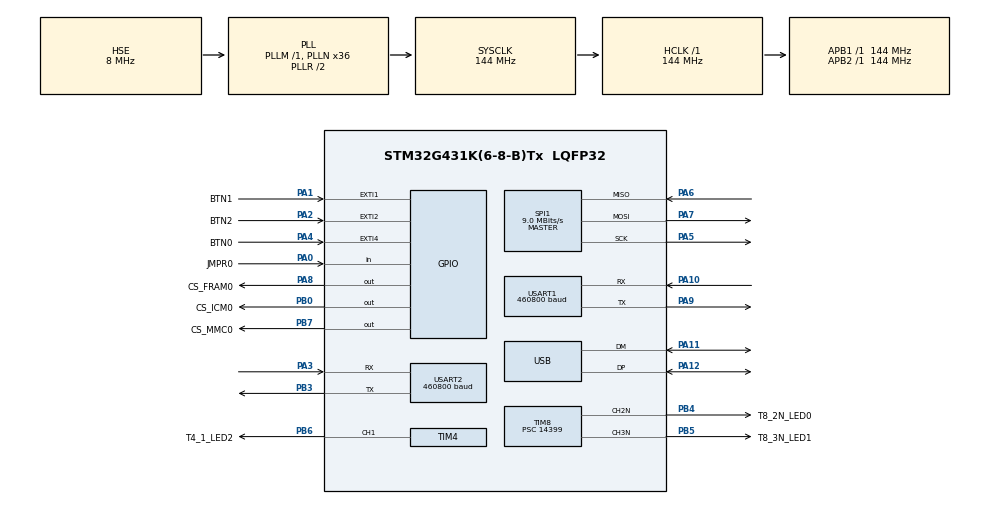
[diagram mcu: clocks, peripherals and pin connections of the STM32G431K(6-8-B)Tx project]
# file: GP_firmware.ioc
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Dma.Request0=SPI1_RX
Dma.Request1=SPI1_TX
Dma.SPI1_RX.0.Direction=DMA_PERIPH_TO_MEMORY
Dma.SPI1_RX.0.EventEnable=DISABLE
Dma.SPI1_RX.0.Instance=DMA1_Channel1
Dma.SPI1_RX.0.MemDataAlignment=DMA_MDATAALIGN_BYTE
Dma.SPI1_RX.0.MemInc=DMA_MINC_ENABLE
Dma.SPI1_RX.0.Mode=DMA_NORMAL
Dma.SPI1_RX.0.PeriphDataAlignment=DMA_PDATAALIGN_BYTE
Dma.SPI1_RX.0.PeriphInc=DMA_PINC_DISABLE
Dma.SPI1_RX.0.Polarity=HAL_DMAMUX_REQ_GEN_RISING
Dma.SPI1_RX.0.Priority=DMA_PRIORITY_MEDIUM
Dma.SPI1_RX.0.RequestNumber=1
Dma.SPI1_RX.0.SignalID=NONE
Dma.SPI1_RX.0.SyncEnable=DISABLE
Dma.SPI1_RX.0.SyncPolarity=HAL_DMAMUX_SYNC_NO_EVENT
Dma.SPI1_RX.0.SyncRequestNumber=1
Dma.SPI1_RX.0.SyncSignalID=NONE
Dma.SPI1_TX.1.Direction=DMA_MEMORY_TO_PERIPH
Dma.SPI1_TX.1.EventEnable=DISABLE
Dma.SPI1_TX.1.Instance=DMA1_Channel2
Dma.SPI1_TX.1.MemDataAlignment=DMA_MDATAALIGN_BYTE
Dma.SPI1_TX.1.MemInc=DMA_MINC_ENABLE
Dma.SPI1_TX.1.Mode=DMA_NORMAL
Dma.SPI1_TX.1.PeriphDataAlignment=DMA_PDATAALIGN_BYTE
Dma.SPI1_TX.1.PeriphInc=DMA_PINC_DISABLE
Dma.SPI1_TX.1.Polarity=HAL_DMAMUX_REQ_GEN_RISING
Dma.SPI1_TX.1.Priority=DMA_PRIORITY_MEDIUM
Dma.SPI1_TX.1.RequestNumber=1
Dma.SPI1_TX.1.SignalID=NONE
Dma.SPI1_TX.1.SyncEnable=DISABLE
Dma.SPI1_TX.1.SyncPolarity=HAL_DMAMUX_SYNC_NO_EVENT
Dma.SPI1_TX.1.SyncRequestNumber=1
Dma.SPI1_TX.1.SyncSignalID=NONE
Mcu.Family=STM32G4
Mcu.Name=STM32G431K(6-8-B)Tx
Mcu.Package=LQFP32
NVIC.DMA1_Channel1_IRQn=true\:0\:0\:false\:false\:true\:false\:true
NVIC.DMA1_Channel2_IRQn=true\:0\:0\:false\:false\:true\:false\:true
NVIC.EXTI1_IRQn=true\:3\:0\:true\:false\:true\:true\:true
NVIC.EXTI2_IRQn=true\:3\:0\:true\:false\:true\:true\:true
NVIC.EXTI4_IRQn=true\:3\:0\:true\:false\:true\:true\:true
NVIC.PriorityGroup=NVIC_PRIORITYGROUP_4
NVIC.SPI1_IRQn=true\:1\:0\:true\:false\:true\:true\:true
NVIC.TIM1_UP_TIM16_IRQn=true\:5\:0\:true\:false\:true\:true\:true
NVIC.USB_LP_IRQn=true\:2\:0\:true\:false\:true\:false\:true
PA0.GPIO_Label=JMPR0
PA0.GPIO_Mode=GPIO_MODE_INPUT
PA0.GPIO_PuPd=GPIO_PULLUP
PA0.Signal=GPIO_Input
PA1.GPIO_Label=BTN1
PA1.GPIO_ModeDefaultEXTI=GPIO_MODE_IT_FALLING
PA1.GPIO_PuPd=GPIO_PULLUP
PA1.Signal=GPXTI1
PA10.Mode=Asynchronous
PA10.Signal=USART1_RX
PA11.Mode=Device
PA11.Signal=USB_DM
PA12.Mode=Device
PA12.Signal=USB_DP
PA13.Mode=Serial_Wire
PA13.Signal=SYS_JTMS-SWDIO
PA14.Mode=Serial_Wire
PA14.Signal=SYS_JTCK-SWCLK
PA2.GPIO_Label=BTN2
PA2.GPIO_ModeDefaultEXTI=GPIO_MODE_IT_FALLING
PA2.GPIO_PuPd=GPIO_PULLUP
PA2.Signal=GPXTI2
PA3.Mode=Asynchronous
PA3.Signal=USART2_RX
PA4.GPIO_Label=BTN0
PA4.GPIO_ModeDefaultEXTI=GPIO_MODE_IT_FALLING
PA4.GPIO_PuPd=GPIO_PULLUP
PA4.Signal=GPXTI4
PA5.Mode=Full_Duplex_Master
PA5.Signal=SPI1_SCK
PA6.Mode=Full_Duplex_Master
PA6.Signal=SPI1_MISO
PA7.Mode=Full_Duplex_Master
PA7.Signal=SPI1_MOSI
PA8.GPIO_Label=CS_FRAM0
PA8.PinState=GPIO_PIN_SET
PA8.Signal=GPIO_Output
PA9.Mode=Asynchronous
PA9.Signal=USART1_TX
PB0.GPIO_Label=CS_ICM0
PB0.PinState=GPIO_PIN_SET
PB0.Signal=GPIO_Output
PB3.Mode=Asynchronous
PB3.Signal=USART2_TX
PB4.GPIO_Label=T8_2N_LED0
PB4.Mode=PWM Generation2 CH2N
PB4.Signal=TIM8_CH2N
PB5.GPIO_Label=T8_3N_LED1
PB5.Mode=PWM Generation3 CH3N
PB5.Signal=TIM8_CH3N
PB6.GPIO_Label=T4_1_LED2
PB6.Signal=S_TIM4_CH1
PB7.GPIO_Label=CS_MMC0
PB7.PinState=GPIO_PIN_SET
PB7.Signal=GPIO_Output
PF0-OSC_IN.Mode=HSE-External-Oscillator
PF0-OSC_IN.Signal=RCC_OSC_IN
PF1-OSC_OUT.Mode=HSE-External-Oscillator
PF1-OSC_OUT.Signal=RCC_OSC_OUT
ProjectManager.HeapSize=0x200
ProjectManager.StackSize=0x400
ProjectManager.TargetToolchain=STM32CubeIDE
RCC.ADC12Freq_Value=144000000
RCC.AHBFreq_Value=144000000
RCC.APB1Freq_Value=144000000
RCC.APB1TimFreq_Value=144000000
RCC.APB2Freq_Value=144000000
RCC.APB2TimFreq_Value=144000000
RCC.CortexFreq_Value=144000000
RCC.EXTERNAL_CLOCK_VALUE=12288000
RCC.HCLKFreq_Value=144000000
RCC.HSE_VALUE=8000000
RCC.HSI48_VALUE=48000000
RCC.HSI_VALUE=16000000
RCC.LSE_VALUE=32768
RCC.PLLN=36
RCC.PLLQ=RCC_PLLQ_DIV6
RCC.PLLSourceVirtual=RCC_PLLSOURCE_HSE
RCC.SYSCLKFreq_VALUE=144000000
RCC.SYSCLKSource=RCC_SYSCLKSOURCE_PLLCLK
RCC.USBFreq_Value=48000000
RCC.VCOOutputFreq_Value=288000000
SH.S_TIM4_CH1.0=TIM4_CH1,PWM Generation1 CH1
SPI1.BaudRatePrescaler=SPI_BAUDRATEPRESCALER_16
SPI1.CalculateBaudRate=9.0 MBits/s
SPI1.DataSize=SPI_DATASIZE_8BIT
SPI1.Direction=SPI_DIRECTION_2LINES
SPI1.Mode=SPI_MODE_MASTER
SPI1.VirtualType=VM_MASTER
TIM1.PeriodNoDither=999
TIM1.Prescaler=143
TIM1.RepetitionCounter=0
TIM4.Channel-PWM\ Generation1\ CH1=TIM_CHANNEL_1
TIM4.PeriodNoDither=9999
TIM4.Prescaler=14399
TIM4.PulseNoDither_1=4999
TIM8.Channel-PWM\ Generation2\ CH2N=TIM_CHANNEL_2
TIM8.Channel-PWM\ Generation3\ CH3N=TIM_CHANNEL_3
TIM8.PeriodNoDither=9999
TIM8.Prescaler=14399
TIM8.PulseNoDither_2=999
TIM8.PulseNoDither_3=1999
USART1.BaudRate=460800
USART1.VirtualMode-Asynchronous=VM_ASYNC
USART1.WordLength=WORDLENGTH_8B
USART2.BaudRate=460800
USART2.VirtualMode-Asynchronous=VM_ASYNC
USART2.WordLength=WORDLENGTH_8B
USB_DEVICE.CLASS_NAME_FS=CDC
USB_DEVICE.USBD_SELF_POWERED=0
USB_DEVICE.VirtualMode=Cdc
USB_DEVICE.VirtualModeFS=Cdc_FS
VP_SYS_VS_DBSignals.Mode=DisableDeadBatterySignals
VP_TIM1_VS_ClockSourceINT.Mode=Internal
VP_TIM4_VS_ClockSourceINT.Mode=Internal
VP_TIM8_VS_ClockSourceINT.Mode=Internal
VP_USB_DEVICE_VS_USB_DEVICE_CDC_FS.Mode=CDC_FS
board=custom

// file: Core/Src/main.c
/* USER CODE BEGIN Header */
/**
  ******************************************************************************
  * @file           : main.c
  * @brief          : Main program body
  ******************************************************************************
  * @attention
  *
  * <h2><center>&copy; Copyright (c) 2020 STMicroelectronics.
  * All rights reserved.</center></h2>
  *
  * This software component is licensed by ST under Ultimate Liberty license
  * SLA0044, the "License"; You may not use this file except in compliance with
  * the License. You may obtain a copy of the License at:
  *                             www.st.com/SLA0044
  *
  ******************************************************************************
  */
/* USER CODE END Header */
#include "main.h"
#include "spi.h"
#include "tim.h"
#include "usart.h"
#include "usb_device.h"
#include "gpio.h"

void SystemClock_Config(void);
/* USER CODE BEGIN PFP */
void BootLocation(void);
void JumpToBootloader(void);
/* USER CODE END PFP */

int main(void)
{
  /* USER CODE BEGIN 1 */
  BootLocation();
  /* USER CODE END 1 */

  /* MCU Configuration--------------------------------------------------------*/

  /* Reset of all peripherals, Initializes the Flash interface and the Systick. */
  HAL_Init();

  /* Configure the system clock */
  SystemClock_Config();

  /* Initialize all configured peripherals */
  MX_GPIO_Init();
  MX_SPI1_Init();
  MX_USART1_UART_Init();
  MX_USART2_UART_Init();
  MX_USB_Device_Init();
  MX_TIM1_Init();
  MX_TIM4_Init();
  MX_TIM8_Init();
  /* USER CODE BEGIN 2 */
  HAL_TIM_Base_Start_IT(&htim1);
  HAL_TIM_PWM_Start(&htim4, TIM_CHANNEL_1);
  HAL_TIMEx_PWMN_Start(&htim8, TIM_CHANNEL_2);
  HAL_TIMEx_PWMN_Start(&htim8, TIM_CHANNEL_3);
  /* USER CODE END 2 */

  /* Infinite loop */
  while (1)
  {

  }
}

void SystemClock_Config(void)
{
  RCC_OscInitTypeDef RCC_OscInitStruct = {0};
  RCC_ClkInitTypeDef RCC_ClkInitStruct = {0};
  RCC_PeriphCLKInitTypeDef PeriphClkInit = {0};

  /** Configure the main internal regulator output voltage
  */
  HAL_PWREx_ControlVoltageScaling(PWR_REGULATOR_VOLTAGE_SCALE1);
  /** Initializes the RCC Oscillators according to the specified parameters
  * in the RCC_OscInitTypeDef structure.
  */
  RCC_OscInitStruct.OscillatorType = RCC_OSCILLATORTYPE_HSE;
  RCC_OscInitStruct.HSEState = RCC_HSE_ON;
  RCC_OscInitStruct.PLL.PLLState = RCC_PLL_ON;
  RCC_OscInitStruct.PLL.PLLSource = RCC_PLLSOURCE_HSE;
  RCC_OscInitStruct.PLL.PLLM = RCC_PLLM_DIV1;
  RCC_OscInitStruct.PLL.PLLN = 36;
  RCC_OscInitStruct.PLL.PLLP = RCC_PLLP_DIV2;
  RCC_OscInitStruct.PLL.PLLQ = RCC_PLLQ_DIV6;
  RCC_OscInitStruct.PLL.PLLR = RCC_PLLR_DIV2;
  if (HAL_RCC_OscConfig(&RCC_OscInitStruct) != HAL_OK)
  {
    Error_Handler();
  }
  /** Initializes the CPU, AHB and APB buses clocks
  */
  RCC_ClkInitStruct.ClockType = RCC_CLOCKTYPE_HCLK|RCC_CLOCKTYPE_SYSCLK
                              |RCC_CLOCKTYPE_PCLK1|RCC_CLOCKTYPE_PCLK2;
  RCC_ClkInitStruct.SYSCLKSource = RCC_SYSCLKSOURCE_PLLCLK;
  RCC_ClkInitStruct.AHBCLKDivider = RCC_SYSCLK_DIV1;
  RCC_ClkInitStruct.APB1CLKDivider = RCC_HCLK_DIV1;
  RCC_ClkInitStruct.APB2CLKDivider = RCC_HCLK_DIV1;

  if (HAL_RCC_ClockConfig(&RCC_ClkInitStruct, FLASH_LATENCY_4) != HAL_OK)
  {
    Error_Handler();
  }
  /** Initializes the peripherals clocks
  */
  PeriphClkInit.PeriphClockSelection = RCC_PERIPHCLK_USART1|RCC_PERIPHCLK_USART2
                              |RCC_PERIPHCLK_USB;
  PeriphClkInit.Usart1ClockSelection = RCC_USART1CLKSOURCE_PCLK2;
  PeriphClkInit.Usart2ClockSelection = RCC_USART2CLKSOURCE_PCLK1;
  PeriphClkInit.UsbClockSelection = RCC_USBCLKSOURCE_PLL;
  if (HAL_RCCEx_PeriphCLKConfig(&PeriphClkInit) != HAL_OK)
  {
    Error_Handler();
  }
}

/* USER CODE BEGIN 4 */
void BootLocation(void) {
  __HAL_RCC_GPIOA_CLK_ENABLE();
	GPIO_InitTypeDef GPIO_InitStruct = {0};
	GPIO_InitStruct.Pin = BTN0_Pin;
	GPIO_InitStruct.Mode = GPIO_MODE_INPUT;
	GPIO_InitStruct.Pull = GPIO_PULLUP;
	HAL_GPIO_Init(GPIOA, &GPIO_InitStruct);

	if (!HAL_GPIO_ReadPin(GPIOA, BTN0_Pin)) {
	  HAL_GPIO_DeInit(GPIOA, BTN0_Pin);
	  __HAL_RCC_GPIOA_CLK_DISABLE();
	  JumpToBootloader();
	}
}

/**
 * Function to perform jump to system memory boot from user application
 *
 * Call function when you want to jump to system memory
 */
void JumpToBootloader(void) {
  void (*SysMemBootJump)(void);

  /**
   * Step: Set system memory address.
   *
   *       For STM32F429, system memory is on 0x1FFF 0000
   *       For other families, check AN2606 document table 110 with descriptions of memory addresses
   */
  volatile uint32_t addr = 0x1FFF0000;

  /**
   * Step: Disable RCC, set it to default (after reset) settings
   *       Internal clock, no PLL, etc.
   */
#if defined(USE_HAL_DRIVER)
  HAL_RCC_DeInit();
#endif /* defined(USE_HAL_DRIVER) */
#if defined(USE_STDPERIPH_DRIVER)
  RCC_DeInit();
#endif /* defined(USE_STDPERIPH_DRIVER) */

  /**
   * Step: Disable systick timer and reset it to default values
   */
  SysTick->CTRL = 0;
  SysTick->LOAD = 0;
  SysTick->VAL = 0;

  /**
   * Step: Disable all interrupts
   */
  __disable_irq();

  /**
   * Step: Remap system memory to address 0x0000 0000 in address space
   *       For each family registers may be different.
   *       Check reference manual for each family.
   *
   *       For STM32F4xx, MEMRMP register in SYSCFG is used (bits[1:0])
   *       For STM32F0xx, CFGR1 register in SYSCFG is used (bits[1:0])
   *       For others, check family reference manual
   */
  //Remap by hand... {
#if defined(STM32G4)
  SYSCFG->MEMRMP = 0x01;
#endif
#if defined(STM32F4)
  SYSCFG->MEMRMP = 0x01;
#endif
#if defined(STM32F0)
  SYSCFG->CFGR1 = 0x01;
#endif
  //} ...or if you use HAL drivers
  //__HAL_SYSCFG_REMAPMEMORY_SYSTEMFLASH(); //Call HAL macro to do this for you

  /**
   * Step: Set jump memory location for system memory
   *       Use address with 4 bytes offset which specifies jump location where program starts
   */
  SysMemBootJump = (void (*)(void)) (*((uint32_t *)(addr + 4)));

  /**
   * Step: Set main stack pointer.
   *       This step must be done last otherwise local variables in this function
   *       don't have proper value since stack pointer is located on different position
   *
   *       Set direct address location which specifies stack pointer in SRAM location
   */
  __set_MSP(*(uint32_t *)addr);

  /**
   * Step: Actually call our function to jump to set location
   *       This will start system memory execution
   */
  SysMemBootJump();

  /**
   * Step: Connect USB<->UART converter to dedicated USART pins and test
   *       and test with bootloader works with STM32 Flash Loader Demonstrator software
   */
}
/* USER CODE END 4 */

void Error_Handler(void)
{
}

/************************ (C) COPYRIGHT STMicroelectronics *****END OF FILE****/
